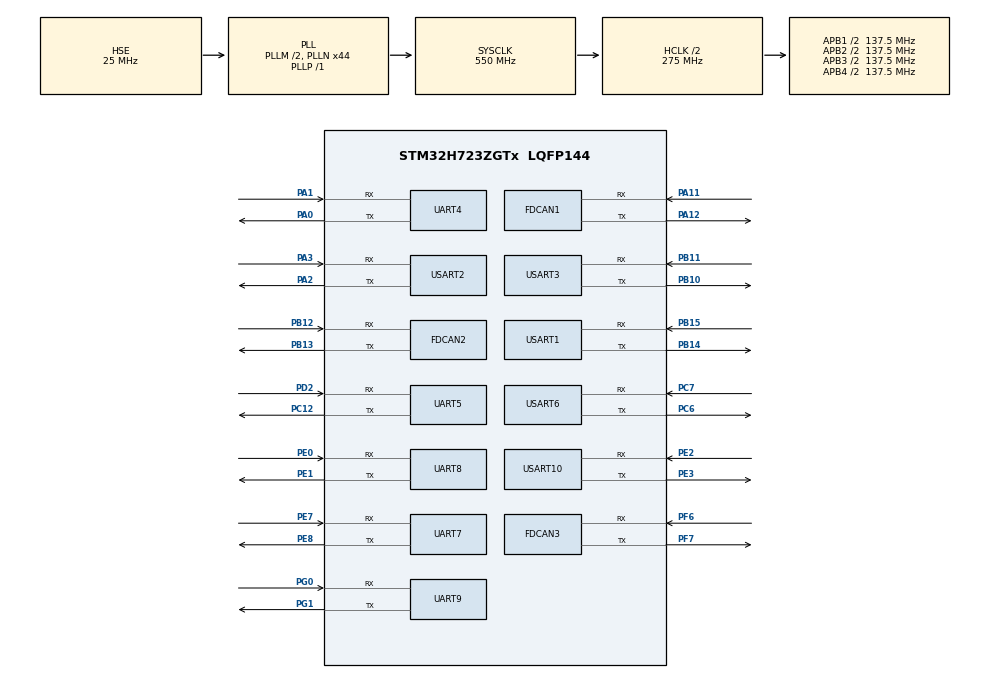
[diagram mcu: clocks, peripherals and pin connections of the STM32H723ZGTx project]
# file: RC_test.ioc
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CORTEX_M7.AccessPermission_S-Cortex_Memory_Protection_Unit_Region1_Settings_S=MPU_REGION_PRIV_RW
CORTEX_M7.AccessPermission_S-Cortex_Memory_Protection_Unit_Region2_Settings_S=MPU_REGION_PRIV_RW
CORTEX_M7.BaseAddress_S-Cortex_Memory_Protection_Unit_Region1_Settings_S=0x08000000
CORTEX_M7.BaseAddress_S-Cortex_Memory_Protection_Unit_Region2_Settings_S=0x20000000
CORTEX_M7.CPU_DCache=Enabled
CORTEX_M7.CPU_ICache=Enabled
CORTEX_M7.DisableExec_S-Cortex_Memory_Protection_Unit_Region2_Settings_S=MPU_INSTRUCTION_ACCESS_DISABLE
CORTEX_M7.Enable_S-Cortex_Memory_Protection_Unit_Region1_Settings_S=MPU_REGION_ENABLE
CORTEX_M7.Enable_S-Cortex_Memory_Protection_Unit_Region2_Settings_S=MPU_REGION_ENABLE
CORTEX_M7.Enable_Spec=MPU_REGION_ENABLE
CORTEX_M7.IsBufferable_S-Cortex_Memory_Protection_Unit_Region2_Settings_S=MPU_ACCESS_BUFFERABLE
CORTEX_M7.IsCacheable_S-Cortex_Memory_Protection_Unit_Region1_Settings_S=MPU_ACCESS_CACHEABLE
CORTEX_M7.IsCacheable_S-Cortex_Memory_Protection_Unit_Region2_Settings_S=MPU_ACCESS_CACHEABLE
CORTEX_M7.Size_S-Cortex_Memory_Protection_Unit_Region1_Settings_S=MPU_REGION_SIZE_1MB
CORTEX_M7.Size_S-Cortex_Memory_Protection_Unit_Region2_Settings_S=MPU_REGION_SIZE_512KB
CORTEX_M7.TypeExtField_S-Cortex_Memory_Protection_Unit_Region1_Settings_S=MPU_TEX_LEVEL1
CORTEX_M7.TypeExtField_S-Cortex_Memory_Protection_Unit_Region2_Settings_S=MPU_TEX_LEVEL1
CORTEX_M7.default_mode_Activation=1
FDCAN1.CalculateBaudRateNominal=500000
FDCAN1.CalculateTimeBitNominal=2000
FDCAN1.CalculateTimeQuantumNominal=181.8181818181818
FDCAN1.NominalPrescaler=25
FDCAN1.NominalTimeSeg1=8
FDCAN1.NominalTimeSeg2=2
FDCAN1.TxFifoQueueElmtsNbr=3
FDCAN2.CalculateBaudRateNominal=500000
FDCAN2.CalculateTimeBitNominal=2000
FDCAN2.CalculateTimeQuantumNominal=181.8181818181818
FDCAN2.MessageRAMOffset=64
FDCAN2.NominalPrescaler=25
FDCAN2.NominalTimeSeg1=8
FDCAN2.NominalTimeSeg2=2
FDCAN2.TxFifoQueueElmtsNbr=3
FDCAN3.CalculateBaudRateNominal=500000
FDCAN3.CalculateTimeBitNominal=2000
FDCAN3.CalculateTimeQuantumNominal=181.8181818181818
FDCAN3.MessageRAMOffset=128
FDCAN3.NominalPrescaler=25
FDCAN3.NominalTimeSeg1=8
FDCAN3.NominalTimeSeg2=2
FDCAN3.TxFifoQueueElmtsNbr=3
Mcu.Family=STM32H7
Mcu.Name=STM32H723ZGTx
Mcu.Package=LQFP144
NVIC.FDCAN1_IT0_IRQn=true\:0\:0\:false\:false\:true\:true\:true\:true
NVIC.FDCAN1_IT1_IRQn=true\:0\:0\:false\:false\:true\:true\:true\:true
NVIC.FDCAN2_IT0_IRQn=true\:0\:0\:false\:false\:true\:true\:true\:true
NVIC.FDCAN2_IT1_IRQn=true\:0\:0\:false\:false\:true\:true\:true\:true
NVIC.FDCAN3_IT0_IRQn=true\:0\:0\:false\:false\:true\:true\:true\:true
NVIC.FDCAN3_IT1_IRQn=true\:0\:0\:false\:false\:true\:true\:true\:true
NVIC.PriorityGroup=NVIC_PRIORITYGROUP_4
NVIC.TIM6_DAC_IRQn=true\:15\:0\:false\:false\:true\:false\:true\:true
NVIC.TimeBase=TIM6_DAC_IRQn
NVIC.TimeBaseIP=TIM6
PA0.Mode=Asynchronous
PA0.Signal=UART4_TX
PA1.Mode=Asynchronous
PA1.Signal=UART4_RX
PA11.Mode=FDCAN_Activate
PA11.Signal=FDCAN1_RX
PA12.Mode=FDCAN_Activate
PA12.Signal=FDCAN1_TX
PA13(JTMS/SWDIO).Mode=Serial_Wire
PA13(JTMS/SWDIO).Signal=DEBUG_JTMS-SWDIO
PA14(JTCK/SWCLK).Mode=Serial_Wire
PA14(JTCK/SWCLK).Signal=DEBUG_JTCK-SWCLK
PA2.Mode=Asynchronous
PA2.Signal=USART2_TX
PA3.Mode=Asynchronous
PA3.Signal=USART2_RX
PB10.Mode=Asynchronous
PB10.Signal=USART3_TX
PB11.Mode=Asynchronous
PB11.Signal=USART3_RX
PB12.Mode=FDCAN_Activate
PB12.Signal=FDCAN2_RX
PB13.Mode=FDCAN_Activate
PB13.Signal=FDCAN2_TX
PB14.Mode=Asynchronous
PB14.Signal=USART1_TX
PB15.Mode=Asynchronous
PB15.Signal=USART1_RX
PC12.Mode=Asynchronous
PC12.Signal=UART5_TX
PC6.Mode=Asynchronous
PC6.Signal=USART6_TX
PC7.Mode=Asynchronous
PC7.Signal=USART6_RX
PD2.Mode=Asynchronous
PD2.Signal=UART5_RX
PE0.Mode=Asynchronous
PE0.Signal=UART8_RX
PE1.Mode=Asynchronous
PE1.Signal=UART8_TX
PE2.Mode=Asynchronous
PE2.Signal=USART10_RX
PE3.Mode=Asynchronous
PE3.Signal=USART10_TX
PE7.Mode=Asynchronous
PE7.Signal=UART7_RX
PE8.Mode=Asynchronous
PE8.Signal=UART7_TX
PF6.Mode=FDCAN_Activate
PF6.Signal=FDCAN3_RX
PF7.Mode=FDCAN_Activate
PF7.Signal=FDCAN3_TX
PG0.Mode=Asynchronous
PG0.Signal=UART9_RX
PG1.Mode=Asynchronous
PG1.Signal=UART9_TX
PH0-OSC_IN.Mode=HSE-External-Oscillator
PH0-OSC_IN.Signal=RCC_OSC_IN
PH1-OSC_OUT.Mode=HSE-External-Oscillator
PH1-OSC_OUT.Signal=RCC_OSC_OUT
ProjectManager.HeapSize=0x200
ProjectManager.StackSize=0x400
ProjectManager.TargetToolchain=MDK-ARM V5.32
RCC.ADCFreq_Value=50390625
RCC.APB1Freq_Value=137500000
RCC.APB2Freq_Value=137500000
RCC.APB3Freq_Value=137500000
RCC.APB4Freq_Value=137500000
RCC.CortexFreq_Value=550000000
RCC.D1PPRE=RCC_APB3_DIV2
RCC.D2PPRE1=RCC_APB1_DIV2
RCC.D2PPRE2=RCC_APB2_DIV2
RCC.D3PPRE=RCC_APB4_DIV2
RCC.DIVM1=2
RCC.DIVN1=44
RCC.DIVP1=1
RCC.DIVQ1=4
RCC.HCLKFreq_Value=275000000
RCC.HPRE=RCC_HCLK_DIV2
RCC.PLLFRACN=0
RCC.PLLSourceVirtual=RCC_PLLSOURCE_HSE
RCC.PWR_Regulator_Voltage_Scale=PWR_REGULATOR_VOLTAGE_SCALE0
RCC.SYSCLKFreq_VALUE=550000000
RCC.SYSCLKSource=RCC_SYSCLKSOURCE_PLLCLK
RCC.USBFreq_Value=137500000
USART1.VirtualMode-Asynchronous=VM_ASYNC
USART10.VirtualMode-Asynchronous=VM_ASYNC
USART2.VirtualMode-Asynchronous=VM_ASYNC
USART3.VirtualMode-Asynchronous=VM_ASYNC
USART6.VirtualMode-Asynchronous=VM_ASYNC
VP_MEMORYMAP_VS_MEMORYMAP.Mode=CurAppReg
VP_SYS_VS_tim6.Mode=TIM6
board=custom

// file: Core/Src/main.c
/* USER CODE BEGIN Header */
/**
  ******************************************************************************
  * @file           : main.c
  * @brief          : Main program body
  ******************************************************************************
  * @attention
  *
  * Copyright (c) 2026 STMicroelectronics.
  * All rights reserved.
  *
  * This software is licensed under terms that can be found in the LICENSE file
  * in the root directory of this software component.
  * If no LICENSE file comes with this software, it is provided AS-IS.
  *
  ******************************************************************************
  */
/* USER CODE END Header */
#include "main.h"
#include "fdcan.h"
#include "usart.h"
#include "gpio.h"

/* USER CODE BEGIN Includes */
#include <stdio.h>
#include <string.h>
/* USER CODE END Includes */

/* USER CODE BEGIN PD */
#define TEST_MSG_LEN    64
#define CAN_TEST_ID     0x123
#define CAN_TX_TIMEOUT_MS  100
/* USER CODE END PD */

/* USER CODE BEGIN PV */
static uint8_t test_stage = 0;
static uint8_t test_done = 0;
static uint8_t fdcan_started[3] = {0};
static char test_msg[TEST_MSG_LEN];
/* USER CODE END PV */

void SystemClock_Config(void);
static void MPU_Config(void);
/* USER CODE BEGIN PFP */
static void Test_FDCAN_Print(const char *name, FDCAN_HandleTypeDef *hfdcan, uint8_t started);
static void Test_UART_Print(const char *name, UART_HandleTypeDef *huart);
static void Delay_ms(uint32_t ms);
static void Debug_Print(const char *message);
/* USER CODE END PFP */

int main(void)
{

  /* MPU Configuration--------------------------------------------------------*/
  MPU_Config();

  /* Enable the CPU Cache */

  /* Enable I-Cache---------------------------------------------------------*/
  SCB_EnableICache();

  /* Enable D-Cache---------------------------------------------------------*/
  SCB_EnableDCache();

  /* MCU Configuration--------------------------------------------------------*/

  /* Reset of all peripherals, Initializes the Flash interface and the Systick. */
  HAL_Init();

  /* Configure the system clock */
  SystemClock_Config();

  /* Initialize all configured peripherals */
  MX_GPIO_Init();
  MX_FDCAN1_Init();
  MX_FDCAN2_Init();
  MX_FDCAN3_Init();
  MX_UART4_Init();
  MX_UART5_Init();
  MX_UART7_Init();
  MX_UART8_Init();
  MX_UART9_Init();
  MX_USART1_UART_Init();
  MX_USART2_UART_Init();
  MX_USART3_UART_Init();
  MX_USART6_UART_Init();
  MX_USART10_UART_Init();
  /* USER CODE BEGIN 2 */

  /* Print test banner via UART4 (debug console) */
  Debug_Print("\r\n========================================\r\n");
  Debug_Print("  RC26 Board Test Program\r\n");
  Debug_Print("  MCU: STM32H723ZGTx\r\n");
  Debug_Print("========================================\r\n");

  /* Start FDCAN peripherals and retain each result for the test stage. */
  fdcan_started[0] = (HAL_FDCAN_Start(&hfdcan1) == HAL_OK) ? 1U : 0U;
  fdcan_started[1] = (HAL_FDCAN_Start(&hfdcan2) == HAL_OK) ? 1U : 0U;
  fdcan_started[2] = (HAL_FDCAN_Start(&hfdcan3) == HAL_OK) ? 1U : 0U;

  snprintf(test_msg, TEST_MSG_LEN, "  FDCAN1 start: %s err=0x%08lX\r\n",
           fdcan_started[0] ? "[OK]" : "[FAIL]", (unsigned long)HAL_FDCAN_GetError(&hfdcan1));
  Debug_Print(test_msg);
  snprintf(test_msg, TEST_MSG_LEN, "  FDCAN2 start: %s err=0x%08lX\r\n",
           fdcan_started[1] ? "[OK]" : "[FAIL]", (unsigned long)HAL_FDCAN_GetError(&hfdcan2));
  Debug_Print(test_msg);
  snprintf(test_msg, TEST_MSG_LEN, "  FDCAN3 start: %s err=0x%08lX\r\n",
           fdcan_started[2] ? "[OK]" : "[FAIL]", (unsigned long)HAL_FDCAN_GetError(&hfdcan3));
  Debug_Print(test_msg);

  /* USER CODE END 2 */

  /* Infinite loop */
  while (1)
  {

    /* USER CODE BEGIN 3 */
    if (test_done)
    {
      continue;
    }

    switch (test_stage)
    {
      /* ===== FDCAN Tests ===== */
      case 0:
        snprintf(test_msg, TEST_MSG_LEN, "\r\n--- CAN Test Start ---\r\n");
        HAL_UART_Transmit(&huart4, (uint8_t *)test_msg, strlen(test_msg), 1000);
        test_stage++;
        break;

      case 1:
        Test_FDCAN_Print("FDCAN1", &hfdcan1, fdcan_started[0]);
        test_stage++;
        break;

      case 2:
        Test_FDCAN_Print("FDCAN2", &hfdcan2, fdcan_started[1]);
        test_stage++;
        break;

      case 3:
        Test_FDCAN_Print("FDCAN3", &hfdcan3, fdcan_started[2]);
        test_stage++;
        break;

      /* ===== UART Tests ===== */
      case 4:
        snprintf(test_msg, TEST_MSG_LEN, "\r\n--- UART Test Start ---\r\n");
        HAL_UART_Transmit(&huart4, (uint8_t *)test_msg, strlen(test_msg), 1000);
        test_stage++;
        break;

      case 5:
        Test_UART_Print("UART4", &huart4);
        test_stage++;
        break;

      case 6:
        Test_UART_Print("UART5", &huart5);
        test_stage++;
        break;

      case 7:
        Test_UART_Print("UART7", &huart7);
        test_stage++;
        break;

      case 8:
        Test_UART_Print("UART8", &huart8);
        test_stage++;
        break;

      case 9:
        Test_UART_Print("UART9", &huart9);
        test_stage++;
        break;

      case 10:
        Test_UART_Print("USART1", &huart1);
        test_stage++;
        break;

      case 11:
        Test_UART_Print("USART2", &huart2);
        test_stage++;
        break;

      case 12:
        Test_UART_Print("USART3", &huart3);
        test_stage++;
        break;

      case 13:
        Test_UART_Print("USART6", &huart6);
        test_stage++;
        break;

      case 14:
        Test_UART_Print("USART10", &huart10);
        test_stage++;
        break;

      /* ===== All Tests Complete ===== */
      case 15:
        snprintf(test_msg, TEST_MSG_LEN, "\r\n========================================\r\n");
        HAL_UART_Transmit(&huart4, (uint8_t *)test_msg, strlen(test_msg), 1000);
        snprintf(test_msg, TEST_MSG_LEN, "  ALL TESTS COMPLETED!\r\n");
        HAL_UART_Transmit(&huart4, (uint8_t *)test_msg, strlen(test_msg), 1000);
        snprintf(test_msg, TEST_MSG_LEN, "========================================\r\n");
        HAL_UART_Transmit(&huart4, (uint8_t *)test_msg, strlen(test_msg), 1000);
        test_done = 1;
        break;

      default:
        break;
    }
  }
  /* USER CODE END 3 */
}

void SystemClock_Config(void)
{
  RCC_OscInitTypeDef RCC_OscInitStruct = {0};
  RCC_ClkInitTypeDef RCC_ClkInitStruct = {0};

  /** Supply configuration update enable
  */
  HAL_PWREx_ConfigSupply(PWR_LDO_SUPPLY);

  /** Configure the main internal regulator output voltage
  */
  __HAL_PWR_VOLTAGESCALING_CONFIG(PWR_REGULATOR_VOLTAGE_SCALE0);

  while(!__HAL_PWR_GET_FLAG(PWR_FLAG_VOSRDY)) {}

  /** Initializes the RCC Oscillators according to the specified parameters
  * in the RCC_OscInitTypeDef structure.
  */
  RCC_OscInitStruct.OscillatorType = RCC_OSCILLATORTYPE_HSE;
  RCC_OscInitStruct.HSEState = RCC_HSE_ON;
  RCC_OscInitStruct.PLL.PLLState = RCC_PLL_ON;
  RCC_OscInitStruct.PLL.PLLSource = RCC_PLLSOURCE_HSE;
  RCC_OscInitStruct.PLL.PLLM = 2;
  RCC_OscInitStruct.PLL.PLLN = 44;
  RCC_OscInitStruct.PLL.PLLP = 1;
  RCC_OscInitStruct.PLL.PLLQ = 4;
  RCC_OscInitStruct.PLL.PLLR = 2;
  RCC_OscInitStruct.PLL.PLLRGE = RCC_PLL1VCIRANGE_3;
  RCC_OscInitStruct.PLL.PLLVCOSEL = RCC_PLL1VCOWIDE;
  RCC_OscInitStruct.PLL.PLLFRACN = 0;
  if (HAL_RCC_OscConfig(&RCC_OscInitStruct) != HAL_OK)
  {
    Error_Handler();
  }

  /** Initializes the CPU, AHB and APB buses clocks
  */
  RCC_ClkInitStruct.ClockType = RCC_CLOCKTYPE_HCLK|RCC_CLOCKTYPE_SYSCLK
                              |RCC_CLOCKTYPE_PCLK1|RCC_CLOCKTYPE_PCLK2
                              |RCC_CLOCKTYPE_D3PCLK1|RCC_CLOCKTYPE_D1PCLK1;
  RCC_ClkInitStruct.SYSCLKSource = RCC_SYSCLKSOURCE_PLLCLK;
  RCC_ClkInitStruct.SYSCLKDivider = RCC_SYSCLK_DIV1;
  RCC_ClkInitStruct.AHBCLKDivider = RCC_HCLK_DIV2;
  RCC_ClkInitStruct.APB3CLKDivider = RCC_APB3_DIV2;
  RCC_ClkInitStruct.APB1CLKDivider = RCC_APB1_DIV2;
  RCC_ClkInitStruct.APB2CLKDivider = RCC_APB2_DIV2;
  RCC_ClkInitStruct.APB4CLKDivider = RCC_APB4_DIV2;

  if (HAL_RCC_ClockConfig(&RCC_ClkInitStruct, FLASH_LATENCY_3) != HAL_OK)
  {
    Error_Handler();
  }
}

/* USER CODE BEGIN 4 */

/**
  * @brief  Test FDCAN by sending a classic CAN frame via TX FIFO
  * @param  name:   display name for debug output
  * @param  hfdcan: pointer to FDCAN handle
  * @retval None
  */
static void Test_FDCAN_Print(const char *name, FDCAN_HandleTypeDef *hfdcan, uint8_t started)
{
  FDCAN_TxHeaderTypeDef TxHeader;
  FDCAN_ProtocolStatusTypeDef protocol_status = {0};
  uint8_t tx_data[8] = {'R', 'C', '2', '6', '_', 'C', 'A', 'N'};
  HAL_StatusTypeDef ret;
  uint32_t tx_buffer;
  uint32_t start_tick;

  if (!started)
  {
    snprintf(test_msg, TEST_MSG_LEN, "  %-8s: QUEUE [SKIP], TX [FAIL: NOT STARTED]\r\n", name);
    Debug_Print(test_msg);
    return;
  }

  TxHeader.Identifier = CAN_TEST_ID;
  TxHeader.IdType = FDCAN_STANDARD_ID;
  TxHeader.TxFrameType = FDCAN_DATA_FRAME;
  TxHeader.DataLength = FDCAN_DLC_BYTES_8;
  TxHeader.ErrorStateIndicator = FDCAN_ESI_ACTIVE;
  TxHeader.BitRateSwitch = FDCAN_BRS_OFF;
  TxHeader.FDFormat = FDCAN_CLASSIC_CAN;
  TxHeader.TxEventFifoControl = FDCAN_NO_TX_EVENTS;
  TxHeader.MessageMarker = 0;

  ret = HAL_FDCAN_AddMessageToTxFifoQ(hfdcan, &TxHeader, tx_data);

  if (ret != HAL_OK)
  {
    snprintf(test_msg, TEST_MSG_LEN, "  %-8s: QUEUE [FAIL:%d] err=0x%08lX\r\n",
             name, (int)ret, (unsigned long)HAL_FDCAN_GetError(hfdcan));
    Debug_Print(test_msg);
    return;
  }

  tx_buffer = HAL_FDCAN_GetLatestTxFifoQRequestBuffer(hfdcan);
  start_tick = HAL_GetTick();
  while (HAL_FDCAN_IsTxBufferMessagePending(hfdcan, tx_buffer) != 0U)
  {
    if ((HAL_GetTick() - start_tick) >= CAN_TX_TIMEOUT_MS)
    {
      (void)HAL_FDCAN_AbortTxRequest(hfdcan, tx_buffer);
      (void)HAL_FDCAN_GetProtocolStatus(hfdcan, &protocol_status);
      snprintf(test_msg, TEST_MSG_LEN,
               "  %-8s: QUEUE [OK], TX [TIMEOUT] LEC=%lu BO=%lu\r\n",
               name, (unsigned long)protocol_status.LastErrorCode,
               (unsigned long)protocol_status.BusOff);
      Debug_Print(test_msg);
      return;
    }
  }

  (void)HAL_FDCAN_GetProtocolStatus(hfdcan, &protocol_status);
  if ((hfdcan->Instance->TXBTO & tx_buffer) != 0U)
  {
    snprintf(test_msg, TEST_MSG_LEN, "  %-8s: QUEUE [OK], TX [OK] ID=0x%03X\r\n",
             name, CAN_TEST_ID);
  }
  else
  {
    snprintf(test_msg, TEST_MSG_LEN,
             "  %-8s: QUEUE [OK], TX [FAIL] LEC=%lu BO=%lu\r\n",
             name, (unsigned long)protocol_status.LastErrorCode,
             (unsigned long)protocol_status.BusOff);
  }
  Debug_Print(test_msg);

  Delay_ms(100);
}

/**
  * @brief  Test UART by sending a string via blocking TX
  * @param  name:  display name for debug output
  * @param  huart: pointer to UART handle
  * @retval None
  */
static void Test_UART_Print(const char *name, UART_HandleTypeDef *huart)
{
  HAL_StatusTypeDef ret;
  char uart_msg[TEST_MSG_LEN];

  snprintf(uart_msg, TEST_MSG_LEN, "RC26 UART Test: %s\r\n", name);
  ret = HAL_UART_Transmit(huart, (uint8_t *)uart_msg, strlen(uart_msg), 1000);

  snprintf(test_msg, TEST_MSG_LEN, "  %-8s: TX(%d bytes) %s\r\n",
           name, (int)strlen(uart_msg), (ret == HAL_OK) ? "[OK]" : "[FAIL]");
  Debug_Print(test_msg);

  Delay_ms(50);
}

/**
  * @brief  Simple blocking delay (HAL_Delay alternative)
  * @param  ms: delay in milliseconds
  * @retval None
  */
static void Delay_ms(uint32_t ms)
{
  uint32_t start = uwTick;
  while ((uwTick - start) < ms) { }
}

/**
  * @brief  Send a zero-terminated status message through the UART4 console.
  */
static void Debug_Print(const char *message)
{
  (void)HAL_UART_Transmit(&huart4, (uint8_t *)message, (uint16_t)strlen(message), 1000);
}

/* USER CODE END 4 */

 /* MPU Configuration */

void MPU_Config(void)
{
  MPU_Region_InitTypeDef MPU_InitStruct = {0};

  /* Disables the MPU */
  HAL_MPU_Disable();

  /** Initializes and configures the Region and the memory to be protected
  */
  MPU_InitStruct.Enable = MPU_REGION_ENABLE;
  MPU_InitStruct.Number = MPU_REGION_NUMBER0;
  MPU_InitStruct.BaseAddress = 0x0;
  MPU_InitStruct.Size = MPU_REGION_SIZE_4GB;
  MPU_InitStruct.SubRegionDisable = 0x87;
  MPU_InitStruct.TypeExtField = MPU_TEX_LEVEL0;
  MPU_InitStruct.AccessPermission = MPU_REGION_NO_ACCESS;
  MPU_InitStruct.DisableExec = MPU_INSTRUCTION_ACCESS_DISABLE;
  MPU_InitStruct.IsShareable = MPU_ACCESS_SHAREABLE;
  MPU_InitStruct.IsCacheable = MPU_ACCESS_NOT_CACHEABLE;
  MPU_InitStruct.IsBufferable = MPU_ACCESS_NOT_BUFFERABLE;

  HAL_MPU_ConfigRegion(&MPU_InitStruct);

  /** Initializes and configures the Region and the memory to be protected
  */
  MPU_InitStruct.Number = MPU_REGION_NUMBER1;
  MPU_InitStruct.BaseAddress = 0x08000000;
  MPU_InitStruct.Size = MPU_REGION_SIZE_1MB;
  MPU_InitStruct.SubRegionDisable = 0x0;
  MPU_InitStruct.TypeExtField = MPU_TEX_LEVEL1;
  MPU_InitStruct.AccessPermission = MPU_REGION_PRIV_RW;
  MPU_InitStruct.DisableExec = MPU_INSTRUCTION_ACCESS_ENABLE;
  MPU_InitStruct.IsShareable = MPU_ACCESS_NOT_SHAREABLE;
  MPU_InitStruct.IsCacheable = MPU_ACCESS_CACHEABLE;

  HAL_MPU_ConfigRegion(&MPU_InitStruct);

  /** Initializes and configures the Region and the memory to be protected
  */
  MPU_InitStruct.Number = MPU_REGION_NUMBER2;
  MPU_InitStruct.BaseAddress = 0x20000000;
  MPU_InitStruct.Size = MPU_REGION_SIZE_512KB;
  MPU_InitStruct.DisableExec = MPU_INSTRUCTION_ACCESS_DISABLE;
  MPU_InitStruct.IsBufferable = MPU_ACCESS_BUFFERABLE;

  HAL_MPU_ConfigRegion(&MPU_InitStruct);
  /* Enables the MPU */
  HAL_MPU_Enable(MPU_PRIVILEGED_DEFAULT);

}

void HAL_TIM_PeriodElapsedCallback(TIM_HandleTypeDef *htim)
{
  if (htim->Instance == TIM6)
  {
    HAL_IncTick();
  }
}

void Error_Handler(void)
{
  __disable_irq();
  while (1)
  {
  }
}
